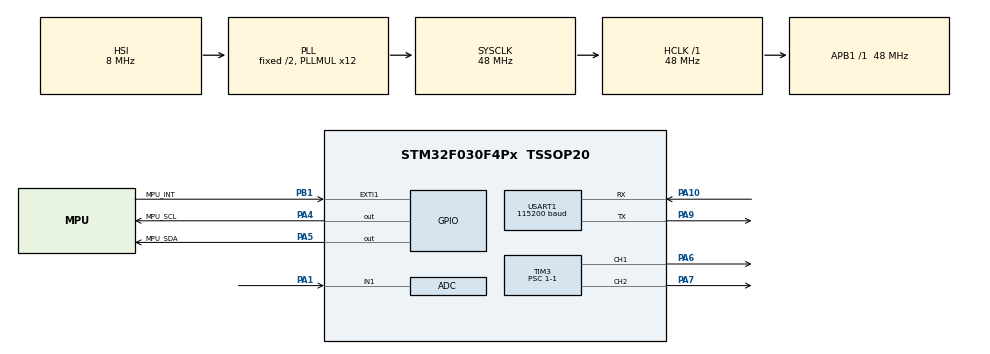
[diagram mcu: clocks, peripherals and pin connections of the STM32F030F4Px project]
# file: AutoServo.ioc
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ADC.ContinuousConvMode=ENABLE
ADC.DMAContinuousRequests=ENABLE
ADC.SamplingTime=ADC_SAMPLETIME_28CYCLES_5
Dma.ADC.1.Direction=DMA_PERIPH_TO_MEMORY
Dma.ADC.1.Instance=DMA1_Channel1
Dma.ADC.1.MemDataAlignment=DMA_MDATAALIGN_HALFWORD
Dma.ADC.1.MemInc=DMA_MINC_ENABLE
Dma.ADC.1.Mode=DMA_CIRCULAR
Dma.ADC.1.PeriphDataAlignment=DMA_PDATAALIGN_HALFWORD
Dma.ADC.1.PeriphInc=DMA_PINC_DISABLE
Dma.ADC.1.Priority=DMA_PRIORITY_LOW
Dma.Request0=USART1_RX
Dma.Request1=ADC
Dma.USART1_RX.0.Direction=DMA_PERIPH_TO_MEMORY
Dma.USART1_RX.0.Instance=DMA1_Channel3
Dma.USART1_RX.0.MemDataAlignment=DMA_MDATAALIGN_BYTE
Dma.USART1_RX.0.MemInc=DMA_MINC_ENABLE
Dma.USART1_RX.0.Mode=DMA_NORMAL
Dma.USART1_RX.0.PeriphDataAlignment=DMA_PDATAALIGN_BYTE
Dma.USART1_RX.0.PeriphInc=DMA_PINC_DISABLE
Dma.USART1_RX.0.Priority=DMA_PRIORITY_LOW
Mcu.Family=STM32F0
Mcu.Name=STM32F030F4Px
Mcu.Package=TSSOP20
NVIC.ADC1_IRQn=true\:0\:0\:false\:false\:true\:true\:true
NVIC.DMA1_Channel1_IRQn=true\:0\:0\:false\:false\:true\:false\:true
NVIC.DMA1_Channel2_3_IRQn=true\:0\:0\:false\:false\:true\:false\:true
NVIC.TIM14_IRQn=true\:0\:0\:false\:false\:true\:true\:true
NVIC.USART1_IRQn=true\:0\:0\:false\:false\:true\:true\:true
PA1.Mode=IN1
PA1.Signal=ADC_IN1
PA10.Mode=Asynchronous
PA10.Signal=USART1_RX
PA13.Mode=Serial_Wire
PA13.Signal=SYS_SWDIO
PA14.Mode=Serial_Wire
PA14.Signal=SYS_SWCLK
PA4.GPIO_Label=MPU_SCL
PA4.GPIO_PuPd=GPIO_PULLUP
PA4.GPIO_Speed=GPIO_SPEED_FREQ_HIGH
PA4.PinState=GPIO_PIN_SET
PA4.Signal=GPIO_Output
PA5.GPIO_Label=MPU_SDA
PA5.GPIO_ModeDefaultOutputPP=GPIO_MODE_OUTPUT_OD
PA5.GPIO_PuPd=GPIO_PULLUP
PA5.GPIO_Speed=GPIO_SPEED_FREQ_HIGH
PA5.PinState=GPIO_PIN_SET
PA5.Signal=GPIO_Output
PA6.Signal=S_TIM3_CH1
PA7.Signal=S_TIM3_CH2
PA9.Mode=Asynchronous
PA9.Signal=USART1_TX
PB1.GPIO_Label=MPU_INT
PB1.GPIO_PuPd=GPIO_PULLUP
PB1.Signal=GPXTI1
ProjectManager.HeapSize=0x200
ProjectManager.StackSize=0x400
ProjectManager.TargetToolchain=MDK-ARM V5.27
RCC.AHBFreq_Value=48000000
RCC.APB1Freq_Value=48000000
RCC.APB1TimFreq_Value=48000000
RCC.HCLKFreq_Value=48000000
RCC.PLLMUL=RCC_PLL_MUL12
RCC.SYSCLKFreq_VALUE=48000000
RCC.SYSCLKSource=RCC_SYSCLKSOURCE_PLLCLK
SH.S_TIM3_CH1.0=TIM3_CH1,PWM Generation1 CH1
SH.S_TIM3_CH2.0=TIM3_CH2,PWM Generation2 CH2
TIM14.Period=1000
TIM14.Prescaler=24-1
TIM3.Channel-PWM\ Generation1\ CH1=TIM_CHANNEL_1
TIM3.Channel-PWM\ Generation2\ CH2=TIM_CHANNEL_2
TIM3.Period=4800-1
TIM3.Prescaler=1-1
USART1.BaudRate=115200
USART1.VirtualMode-Asynchronous=VM_ASYNC
VP_TIM14_VS_ClockSourceINT.Mode=Enable_Timer
board=custom

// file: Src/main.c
/* USER CODE BEGIN Header */
/**
  ******************************************************************************
  * @file           : main.c
  * @brief          : Main program body
  ******************************************************************************
  * @attention
  *
  * <h2><center>&copy; Copyright (c) 2022 STMicroelectronics.
  * All rights reserved.</center></h2>
  *
  * This software component is licensed by ST under BSD 3-Clause license,
  * the "License"; You may not use this file except in compliance with the
  * License. You may obtain a copy of the License at:
  *                        opensource.org/licenses/BSD-3-Clause
  *
  ******************************************************************************
  */
/* USER CODE END Header */
#include "main.h"
#include "adc.h"
#include "dma.h"
#include "tim.h"
#include "usart.h"
#include "gpio.h"

/* USER CODE BEGIN Includes */
#include "stdio.h"
#include "stdint.h"
#include "stdbool.h"
#include "stdlib.h"
#include "string.h"
#include "math.h"

#include "mpu6050.h"
/* USER CODE END Includes */

void SystemClock_Config(void);

/* USER CODE BEGIN 0 */
#include <math.h>

#define GYRO_SCALE 0.06097609f

static float angle, angle_dot, f_angle, f_angle_dot;
int16_t gx, gy, gz, ax, ay, az, temperature;

extern void kalman_filter(float angle_m, float gyro_m, float *angle_f, float *angle_dot_f);

#define ADC_LEN 32
uint16_t adc_val[ADC_LEN];
uint16_t adc_flite;

int16_t mpu_data[6];

#define FILTER_COUNT  16
int16_t gx_buf[FILTER_COUNT], ax_buf[FILTER_COUNT], ay_buf[FILTER_COUNT],az_buf[FILTER_COUNT];
void acc_filter(void)
{
    uint8_t i,j;
    int32_t ax_sum = 0, ay_sum = 0, az_sum = 0;

    for(i = 1 ; i < FILTER_COUNT; i++)
    {
        ax_buf[i - 1] = ax_buf[i];
        ay_buf[i - 1] = ay_buf[i];
        az_buf[i - 1] = az_buf[i];
    }

    ax_buf[FILTER_COUNT - 1] = ax;
    ay_buf[FILTER_COUNT - 1] = ay;
    az_buf[FILTER_COUNT - 1] = az;

    for(i = 0 ; i < FILTER_COUNT; i++)
    {
        ax_sum += ax_buf[i];
        ay_sum += ay_buf[i];
        az_sum += az_buf[i];
    }

    ax = (int16_t)(ax_sum / FILTER_COUNT);
    ay = (int16_t)(ay_sum / FILTER_COUNT);
    az = (int16_t)(az_sum / FILTER_COUNT);
}

void set_pwm(int16_t pwm);

uint16_t tar_ang = 0;
float tar_dir = 0;

void HAL_TIM_PeriodElapsedCallback(TIM_HandleTypeDef *htim)
{
    static int i = 0;
    if(!(i%5))
    {
        MPU_Get_Data(mpu_data);
        //angle_get(mpu_data);
        ax = *(mpu_data + 0);
        ay = *(mpu_data + 1);
        az = *(mpu_data + 2);
        gx = *(mpu_data + 3);//舵盘旋转面
        gy = *(mpu_data + 4);//最大平面旋转
        gz = *(mpu_data + 5);
        acc_filter();
        #if 1
        angle_dot = gx * GYRO_SCALE;  //+-2000  0.060975 °/LSB
        angle = atan(ay / sqrt(ax * ax + az * az ));
        angle = angle * 57.295780;    //180/pi
        #endif
        kalman_filter(angle, angle_dot, &f_angle, &f_angle_dot);//卡尔曼滤波

        tar_dir += gx * GYRO_SCALE * 0.005f;
    }
    if(i == 10)
    {
        i = 0;
        #define EN_PID 1
        #if EN_PID
        float cur_err = (adc_flite - 1024 + (angle * 20));
        static float last_err = 0;
        static float err_sum = 0;

        err_sum += cur_err;
        #define PID_I_SUM_NAX 200
        #define PID_OUT_MAX 2390
        if(cur_err > PID_I_SUM_NAX)cur_err = PID_I_SUM_NAX;
        if(cur_err < -PID_I_SUM_NAX)cur_err =  -PID_I_SUM_NAX;
        float pid_res = cur_err * 12 + err_sum * 0.01 + (cur_err - last_err) * 0.1;
        if(pid_res > PID_OUT_MAX)pid_res = PID_OUT_MAX;
        if(pid_res < -PID_OUT_MAX)pid_res = -PID_OUT_MAX;
        set_pwm(pid_res);
        last_err = cur_err;
        #endif
    }
    i++;
}

void HAL_ADC_ConvCpltCallback(ADC_HandleTypeDef* hadc)
{
    uint8_t i;
    adc_flite = 0;
    for(i=0;i<ADC_LEN;i++)
    {
        adc_flite += adc_val[i];
    }
    adc_flite = (adc_flite >> 5);
}

void set_pwm(int16_t pwm)
{
    __HAL_TIM_SetCompare(&htim3,TIM_CHANNEL_1,2400 - pwm);
    __HAL_TIM_SetCompare(&htim3,TIM_CHANNEL_2,2400 + pwm);
}

/* USER CODE END 0 */

int main(void)
{
  /* USER CODE BEGIN 1 */
    extern float Angle,angleAy;
    int i;
  /* USER CODE END 1 */

  /* MCU Configuration--------------------------------------------------------*/

  /* Reset of all peripherals, Initializes the Flash interface and the Systick. */
  HAL_Init();

  /* Configure the system clock */
  SystemClock_Config();

  /* Initialize all configured peripherals */
  MX_GPIO_Init();
  MX_DMA_Init();
  MX_USART1_UART_Init();
  MX_ADC_Init();
  MX_TIM3_Init();
  MX_TIM14_Init();
  /* USER CODE BEGIN 2 */
    //printf("system start\r\n");
MPUinit:
    Set_MPU(1);
    i = MPU_Init();
    if(i != 0)
    {
        //printf("MPU1:%3d",i);
        HAL_Delay(100);
        goto MPUinit;
    }
    __HAL_TIM_SetCompare(&htim3,TIM_CHANNEL_1,2400);
    __HAL_TIM_SetCompare(&htim3,TIM_CHANNEL_2,2400);
    HAL_TIM_PWM_Start(&htim3,TIM_CHANNEL_1);
    HAL_TIM_PWM_Start(&htim3,TIM_CHANNEL_2);

    HAL_ADC_Start_DMA(&hadc,(uint32_t *)adc_val,ADC_LEN);

    set_pwm(1200);
    HAL_Delay(600);
    set_pwm(-1200);
    HAL_Delay(600);

    __HAL_TIM_CLEAR_FLAG(&htim14,TIM_IT_UPDATE);
    __HAL_TIM_ENABLE_IT(&htim14,TIM_IT_UPDATE);
    HAL_TIM_Base_Start_IT(&htim14);

  /* USER CODE END 2 */

  /* Infinite loop */
    while (1)
    {

    /* USER CODE BEGIN 3 */
        HAL_Delay(10);
        #if 1
        usart1_report_imu(angle * 100,0,0,0,0);
        #endif
        mpu6050_send_data(mpu_data[0],mpu_data[1],mpu_data[2],mpu_data[3],mpu_data[4],mpu_data[5]);
        #if 1
        printString("\r\n Angle:");printFloat(angle,2);
        printString(" AD:");printInteger(adc_flite);
        #endif
    }
  /* USER CODE END 3 */
}

void SystemClock_Config(void)
{
  RCC_OscInitTypeDef RCC_OscInitStruct = {0};
  RCC_ClkInitTypeDef RCC_ClkInitStruct = {0};
  RCC_PeriphCLKInitTypeDef PeriphClkInit = {0};

  /** Initializes the RCC Oscillators according to the specified parameters
  * in the RCC_OscInitTypeDef structure.
  */
  RCC_OscInitStruct.OscillatorType = RCC_OSCILLATORTYPE_HSI|RCC_OSCILLATORTYPE_HSI14;
  RCC_OscInitStruct.HSIState = RCC_HSI_ON;
  RCC_OscInitStruct.HSI14State = RCC_HSI14_ON;
  RCC_OscInitStruct.HSICalibrationValue = RCC_HSICALIBRATION_DEFAULT;
  RCC_OscInitStruct.HSI14CalibrationValue = 16;
  RCC_OscInitStruct.PLL.PLLState = RCC_PLL_ON;
  RCC_OscInitStruct.PLL.PLLSource = RCC_PLLSOURCE_HSI;
  RCC_OscInitStruct.PLL.PLLMUL = RCC_PLL_MUL12;
  RCC_OscInitStruct.PLL.PREDIV = RCC_PREDIV_DIV1;
  if (HAL_RCC_OscConfig(&RCC_OscInitStruct) != HAL_OK)
  {
    Error_Handler();
  }
  /** Initializes the CPU, AHB and APB buses clocks
  */
  RCC_ClkInitStruct.ClockType = RCC_CLOCKTYPE_HCLK|RCC_CLOCKTYPE_SYSCLK
                              |RCC_CLOCKTYPE_PCLK1;
  RCC_ClkInitStruct.SYSCLKSource = RCC_SYSCLKSOURCE_PLLCLK;
  RCC_ClkInitStruct.AHBCLKDivider = RCC_SYSCLK_DIV1;
  RCC_ClkInitStruct.APB1CLKDivider = RCC_HCLK_DIV1;

  if (HAL_RCC_ClockConfig(&RCC_ClkInitStruct, FLASH_LATENCY_1) != HAL_OK)
  {
    Error_Handler();
  }
  PeriphClkInit.PeriphClockSelection = RCC_PERIPHCLK_USART1;
  PeriphClkInit.Usart1ClockSelection = RCC_USART1CLKSOURCE_PCLK1;
  if (HAL_RCCEx_PeriphCLKConfig(&PeriphClkInit) != HAL_OK)
  {
    Error_Handler();
  }
}

/* USER CODE BEGIN 4 */
#if 0
#ifdef __GNUC__
/* With GCC/RAISONANCE, small printf (option LD Linker->Libraries->Small printf
   set to 'Yes') calls __io_putchar() */
#define PUTCHAR_PROTOTYPE int __io_putchar(int ch)
#else
#define PUTCHAR_PROTOTYPE int fputc(int ch, FILE *f)
#endif /* __GNUC__ */
/**
  * @brief  Retargets the C library printf function to the USART.
  * @param  None
  * @retval None
  */
PUTCHAR_PROTOTYPE
{
    /* Place your implementation of fputc here */
    /* e.g. write a character to the EVAL_COM1 and Loop until the end of transmission */
    HAL_UART_Transmit(&huart1, (uint8_t *)&ch, 1, 0xFFFF);

    return ch;
}
#endif

void serial_write(char s)
{
    HAL_UART_Transmit(&huart1, (uint8_t *)&s, 1, 0xFF);
}

void printString(const char *s)
{
    while (*s)
        serial_write(*s++);
}

void printIntegerInBase(unsigned long n, unsigned long base)
{
    unsigned char buf[8 * sizeof(long)]; // Assumes 8-bit chars.
    unsigned long i = 0;

    if (n == 0) {
        serial_write('0');
        return;
    }

    while (n > 0) {
        buf[i++] = n % base;
        n /= base;
    }

    for (; i > 0; i--)
        serial_write(buf[i - 1] < 10 ?
                     '0' + buf[i - 1] :
                     'A' + buf[i - 1] - 10);
}

// Prints an uint8 variable in base 10.
void print_uint8_base10(uint8_t n)
{
    uint8_t digit_a = 0;
    uint8_t digit_b = 0;
    if (n >= 100) { // 100-255
        digit_a = '0' + n % 10;
        n /= 10;
    }
    if (n >= 10) { // 10-99
        digit_b = '0' + n % 10;
        n /= 10;
    }
    serial_write('0' + n);
    if (digit_b) {
        serial_write(digit_b);
    }
    if (digit_a) {
        serial_write(digit_a);
    }
}

// Prints an uint8 variable in base 2 with desired number of desired digits.
void print_uint8_base2_ndigit(uint8_t n, uint8_t digits)
{
    unsigned char buf[digits];
    uint8_t i = 0;

    for (; i < digits; i++) {
        buf[i] = n % 2 ;
        n /= 2;
    }

    for (; i > 0; i--)
        serial_write('0' + buf[i - 1]);
}

void print_uint32_base10(uint32_t n)
{
    if (n == 0) {
        serial_write('0');
        return;
    }

    unsigned char buf[10];
    uint8_t i = 0;

    while (n > 0) {
        buf[i++] = n % 10;
        n /= 10;
    }

    for (; i > 0; i--)
        serial_write('0' + buf[i-1]);
}

void printInteger(long n)
{
    if (n < 0) {
        serial_write('-');
        print_uint32_base10(-n);
    } else {
        print_uint32_base10(n);
    }
}

// Convert float to string by immediately converting to a long integer, which contains
// more digits than a float. Number of decimal places, which are tracked by a counter,
// may be set by the user. The integer is then efficiently converted to a string.
// NOTE: AVR '%' and '/' integer operations are very efficient. Bitshifting speed-up
// techniques are actually just slightly slower. Found this out the hard way.
void printFloat(float n, uint8_t decimal_places)
{
    if (n < 0) {
        serial_write('-');
        n = -n;
    }

    uint8_t decimals = decimal_places;
    while (decimals >= 2) { // Quickly convert values expected to be E0 to E-4.
        n *= 100;
        decimals -= 2;
    }
    if (decimals) {
        n *= 10;
    }
    n += 0.5; // Add rounding factor. Ensures carryover through entire value.

    // Generate digits backwards and store in string.
    unsigned char buf[13];
    uint8_t i = 0;
    uint32_t a = (long)n;
    while(a > 0) {
        buf[i++] = (a % 10) + '0'; // Get digit
        a /= 10;
    }
    while (i < decimal_places) {
        buf[i++] = '0'; // Fill in zeros to decimal point for (n < 1)
    }
    if (i == decimal_places) { // Fill in leading zero, if needed.
        buf[i++] = '0';
    }

    // Print the generated string.
    for (; i > 0; i--) {
        if (i == decimal_places) {
            serial_write('.');    // Insert decimal point in right place.
        }
        serial_write(buf[i-1]);
    }
}

//传送数据给匿名四轴上位机软件(V2.6版本)
//fun:功能字. 0X01~0X1C
//data:数据缓存区,最多28字节!!
//len:data区有效数据个数
void usart1_niming_report(uint8_t fun,uint8_t *data,uint8_t len)
{
    uint8_t send_buf[32];
    uint8_t i;
    if(len>28)return;	//最多28字节数据
    send_buf[len+3]=0;	//校验数置零
    send_buf[0]=0XAA;	//帧头
    send_buf[1]=0XAA;	//帧头
    send_buf[2]=fun;	//功能字
    send_buf[3]=len;	//数据长度
    for(i=0; i<len; i++)send_buf[4+i]=data[i];			//复制数据
    for(i=0; i<len+4; i++)send_buf[len+4]+=send_buf[i];	//计算校验和
    for(i=0; i<len+5; i++)serial_write(send_buf[i]);	//发送数据到串口1
}
//发送加速度传感器数据+陀螺仪数据(传感器帧)
//aacx,aacy,aacz:x,y,z三个方向上面的加速度值
//gyrox,gyroy,gyroz:x,y,z三个方向上面的陀螺仪值
void mpu6050_send_data(short aacx,short aacy,short aacz,short gyrox,short gyroy,short gyroz)
{
    uint8_t tbuf[18];
    tbuf[0]=(aacx>>8)&0XFF;
    tbuf[1]=aacx&0XFF;
    tbuf[2]=(aacy>>8)&0XFF;
    tbuf[3]=aacy&0XFF;
    tbuf[4]=(aacz>>8)&0XFF;
    tbuf[5]=aacz&0XFF;
    tbuf[6]=(gyrox>>8)&0XFF;
    tbuf[7]=gyrox&0XFF;
    tbuf[8]=(gyroy>>8)&0XFF;
    tbuf[9]=gyroy&0XFF;
    tbuf[10]=(gyroz>>8)&0XFF;
    tbuf[11]=gyroz&0XFF;
    tbuf[12]=0;//因为开启MPL后,无法直接读取磁力计数据,所以这里直接屏蔽掉.用0替代.
    tbuf[13]=0;
    tbuf[14]=0;
    tbuf[15]=0;
    tbuf[16]=0;
    tbuf[17]=0;
    usart1_niming_report(0X02,tbuf,18);//传感器帧,0X02
}
//通过串口1上报结算后的姿态数据给电脑(状态帧)
//roll:横滚角.单位0.01度。 -18000 -> 18000 对应 -180.00  ->  180.00度
//pitch:俯仰角.单位 0.01度。-9000 - 9000 对应 -90.00 -> 90.00 度
//yaw:航向角.单位为0.1度 0 -> 3600  对应 0 -> 360.0度
//csb:超声波高度,单位:cm
//prs:气压计高度,单位:mm
void usart1_report_imu(short roll,short pitch,short yaw,short csb,int prs)
{
    uint8_t tbuf[12];
    tbuf[0]=(roll>>8)&0XFF;
    tbuf[1]=roll&0XFF;
    tbuf[2]=(pitch>>8)&0XFF;
    tbuf[3]=pitch&0XFF;
    tbuf[4]=(yaw>>8)&0XFF;
    tbuf[5]=yaw&0XFF;
    tbuf[6]=(csb>>8)&0XFF;
    tbuf[7]=csb&0XFF;
    tbuf[8]=(prs>>24)&0XFF;
    tbuf[9]=(prs>>16)&0XFF;
    tbuf[10]=(prs>>8)&0XFF;
    tbuf[11]=prs&0XFF;
    usart1_niming_report(0X01,tbuf,12);//状态帧,0X01
}

/* USER CODE END 4 */

void Error_Handler(void)
{
    __disable_irq();
    while (1)
    {
    }
}

/************************ (C) COPYRIGHT STMicroelectronics *****END OF FILE****/
